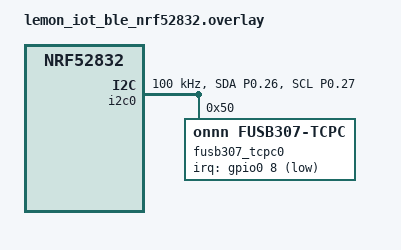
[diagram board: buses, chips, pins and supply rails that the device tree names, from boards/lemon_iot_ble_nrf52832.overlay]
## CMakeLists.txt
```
# SPDX-License-Identifier: Apache-2.0

cmake_minimum_required(VERSION 3.20.0)

find_package(Zephyr REQUIRED HINTS $ENV{ZEPHYR_BASE})
project(USB-PD)

FILE(GLOB app_sources src/*.c)
target_sources(app PRIVATE ${app_sources})
```

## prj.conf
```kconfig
CONFIG_CONSOLE=y
CONFIG_LOG=y

CONFIG_USBC_STACK=y
CONFIG_USBC_CSM_SINK_ONLY=y
CONFIG_USBC_THREAD_PRIORITY=10
CONFIG_USBC_LOG_LEVEL_DBG=y
CONFIG_USBC_TCPC_DRIVER=y

CONFIG_ADC=y
CONFIG_BUILD_OUTPUT_VIF=y
```

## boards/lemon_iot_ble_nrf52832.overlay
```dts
/* SPDX-License-Identifier: Apache-2.0 */

#include <dt-bindings/usb-c/pd.h>

/ {
	aliases {
		usbc-port0 = &port0;
	};

	ports {
		#address-cells = <1>;
		#size-cells = <0>;
		port0: usbc-port@0 {
			compatible = "usb-c-connector";
			reg = <0>;
			tcpc = <&fusb307_tcpc0>;
			vbus = <&fusb307_vbus0>;
			power-role = "sink";
			sink-pdos = <PDO_FIXED(5000, 100, 0)>;
		};
	};
};

&pinctrl {

	i2c0_default: i2c0_default {
		group1 {
			psels = <NRF_PSEL(TWIM_SDA, 0, 26)>,
					<NRF_PSEL(TWIM_SCL, 0, 27)>;
			bias-pull-up;
		};
	};

	i2c0_sleep: i2c0_sleep {
		group1 {
			psels = <NRF_PSEL(TWIM_SDA, 0, 26)>,
					<NRF_PSEL(TWIM_SCL, 0, 27)>;
			low-power-enable;
		};
	};
};

&i2c0 {
	compatible = "nordic,nrf-twim";
	status = "okay";
	pinctrl-0 = <&i2c0_default>;
	pinctrl-1 = <&i2c0_sleep>;
	pinctrl-names = "default", "sleep";
	clock-frequency = <100000>;
	fusb307_tcpc0: fusb307_tcpc0@50 {
		compatible = "onnn,fusb307-tcpc";
		reg = <0x50>;
		irq-gpios = <&gpio0 8 GPIO_ACTIVE_LOW>;
		status = "okay";
		fusb307_vbus0: fusb307_vbus0 {
			compatible = "zephyr,usb-c-vbus-tcpci";
			status = "okay";
		};
	};
};
```

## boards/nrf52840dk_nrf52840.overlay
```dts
/* SPDX-License-Identifier: Apache-2.0 */

#include <dt-bindings/usb-c/pd.h>

/ {
	aliases {
		usbc-port0 = &port0;
	};

	ports {
		#address-cells = <1>;
		#size-cells = <0>;
		port0: usbc-port@0 {
			compatible = "usb-c-connector";
			reg = <0>;
			tcpc = <&fusb307_tcpc0>;
			vbus = <&fusb307_vbus0>;
			power-role = "sink";
			sink-pdos = <PDO_FIXED(9000, 100, 0) PDO_FIXED(5000, 100, 0) PDO_FIXED(15000, 100, 0) PDO_FIXED(20000, 100, 0)>;
		};
	};
};

&pinctrl {

	i2c0_default: i2c0_default {
		group1 {
			psels = <NRF_PSEL(TWIM_SDA, 0, 30)>,
					<NRF_PSEL(TWIM_SCL, 0, 29)>;
			bias-pull-up;
		};
	};

	i2c0_sleep: i2c0_sleep {
		group1 {
			psels = <NRF_PSEL(TWIM_SDA, 0, 30)>,
					<NRF_PSEL(TWIM_SCL, 0, 29)>;
			low-power-enable;
		};
	};
};

&i2c0 {
	compatible = "nordic,nrf-twim";
	status = "okay";
	pinctrl-0 = <&i2c0_default>;
	pinctrl-1 = <&i2c0_sleep>;
	pinctrl-names = "default", "sleep";
	clock-frequency = <100000>;
	fusb307_tcpc0: fusb307_tcpc0@50 {
		compatible = "onnn,fusb307-tcpc";
		reg = <0x50>;
		irq-gpios = <&gpio0 31 GPIO_ACTIVE_LOW>;
		status = "okay";
		fusb307_vbus0: fusb307_vbus0 {
			compatible = "zephyr,usb-c-vbus-tcpci";
			status = "okay";
		};
	};
};
```

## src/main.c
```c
/*
 * Copyright (c) 2022 The Chromium OS Authors.
 *
 * SPDX-License-Identifier: Apache-2.0
 */

#include <zephyr/kernel.h>
#include <zephyr/device.h>
#include <zephyr/devicetree.h>
#include <zephyr/usb_c/usbc.h>

#include <zephyr/logging/log.h>
LOG_MODULE_REGISTER(main, LOG_LEVEL_DBG);

#define USBC_PORT0_NODE		DT_ALIAS(usbc_port0)
#define USBC_PORT0_POWER_ROLE	DT_ENUM_IDX(USBC_PORT0_NODE, power_role)

#if (USBC_PORT0_POWER_ROLE != TC_ROLE_SINK)
#error "Unsupported board: Only Sink device supported"
#endif

#define SINK_PDO(node_id, prop, idx)	(DT_PROP_BY_IDX(node_id, prop, idx)),

/* usbc.rst port data object start */
/**
 * @brief A structure that encapsulates Port data.
 */
static struct port0_data_t {
	/** Sink Capabilities */
	uint32_t snk_caps[DT_PROP_LEN(USBC_PORT0_NODE, sink_pdos)];
	/** Number of Sink Capabilities */
	int snk_cap_cnt;
	/** Source Capabilities */
	uint32_t src_caps[PDO_MAX_DATA_OBJECTS];
	/** Number of Source Capabilities */
	int src_cap_cnt;
	/* Power Supply Ready flag */
	atomic_t ps_ready;
} port0_data = {
	.snk_caps = {DT_FOREACH_PROP_ELEM(USBC_PORT0_NODE, sink_pdos, SINK_PDO)},
	.snk_cap_cnt = DT_PROP_LEN(USBC_PORT0_NODE, sink_pdos),
	.src_caps = {0},
	.src_cap_cnt = 0,
	.ps_ready = 0
};

/* usbc.rst port data object end */

/**
 * @brief Builds a Request Data Object (RDO) with the following properties:
 *		- Maximum operating current 100mA
 *		- Operating current is 100mA
 *		- Unchunked Extended Messages Not Supported
 *		- No USB Suspend
 *		- Not USB Communications Capable
 *		- No capability mismatch
 *		- Does not Giveback
 *		- Select object position 1 (5V Power Data Object (PDO))
 *
 * @note Generally a sink application would build an RDO from the
 *	 Source Capabilities stored in the dpm_data object
 */
static uint32_t build_rdo(const struct port0_data_t *dpm_data)
{
	union pd_rdo rdo;

	/* Maximum operating current 100mA (GIVEBACK = 0) */
	rdo.fixed.min_or_max_operating_current = PD_CONVERT_MA_TO_FIXED_PDO_CURRENT(100);
	/* Operating current 100mA */
	rdo.fixed.operating_current = PD_CONVERT_MA_TO_FIXED_PDO_CURRENT(100);
	/* Unchunked Extended Messages Not Supported */
	rdo.fixed.unchunked_ext_msg_supported = 0;
	/* No USB Suspend */
	rdo.fixed.no_usb_suspend = 1;
	/* Not USB Communications Capable */
	rdo.fixed.usb_comm_capable = 0;
	/* No capability mismatch */
	rdo.fixed.cap_mismatch = 0;
	/* Don't giveback */
	rdo.fixed.giveback = 0;
	/* Object position 1 (5V PDO) */
	rdo.fixed.object_pos = 1;

	return rdo.raw_value;
}

static void display_pdo(const int idx,
			const uint32_t pdo_value)
{
	union pd_fixed_supply_pdo_source pdo;

	/* Default to fixed supply pdo source until type is detected */
	pdo.raw_value = pdo_value;

	LOG_INF("PDO %d:", idx);
	switch (pdo.type) {
	case PDO_FIXED: {
		LOG_INF("\tType:              FIXED");
		LOG_INF("\tCurrent:           %d",
		       PD_CONVERT_FIXED_PDO_CURRENT_TO_MA(pdo.max_current));
		LOG_INF("\tVoltage:           %d",
		       PD_CONVERT_FIXED_PDO_VOLTAGE_TO_MV(pdo.voltage));
		LOG_INF("\tPeak Current:      %d", pdo.peak_current);
		LOG_INF("\tUchunked Support:  %d",
		       pdo.unchunked_ext_msg_supported);
		LOG_INF("\tDual Role Data:    %d",
		       pdo.dual_role_data);
		LOG_INF("\tUSB Comms:         %d",
		       pdo.usb_comms_capable);
		LOG_INF("\tUnconstrained Pwr: %d",
		       pdo.unconstrained_power);
		LOG_INF("\tUSB Suspend:       %d",
		       pdo.usb_suspend_supported);
		LOG_INF("\tDual Role Power:   %d",
		       pdo.dual_role_power);
	}
	break;
	case PDO_BATTERY: {
		union pd_battery_supply_pdo_source batt_pdo;

		batt_pdo.raw_value = pdo_value;
		LOG_INF("\tType:              BATTERY");
		LOG_INF("\tMin Voltage: %d",
			PD_CONVERT_BATTERY_PDO_VOLTAGE_TO_MV(batt_pdo.min_voltage));
		LOG_INF("\tMax Voltage: %d",
			PD_CONVERT_BATTERY_PDO_VOLTAGE_TO_MV(batt_pdo.max_voltage));
		LOG_INF("\tMax Power:   %d",
			PD_CONVERT_BATTERY_PDO_POWER_TO_MW(batt_pdo.max_power));
	}
	break;
	case PDO_VARIABLE: {
		union pd_variable_supply_pdo_source var_pdo;

		var_pdo.raw_value = pdo_value;
		LOG_INF("\tType:        VARIABLE");
		LOG_INF("\tMin Voltage: %d",
			PD_CONVERT_VARIABLE_PDO_VOLTAGE_TO_MV(var_pdo.min_voltage));
		LOG_INF("\tMax Voltage: %d",
			PD_CONVERT_VARIABLE_PDO_VOLTAGE_TO_MV(var_pdo.max_voltage));
		LOG_INF("\tMax Current: %d",
			PD_CONVERT_VARIABLE_PDO_CURRENT_TO_MA(var_pdo.max_current));
	}
	break;
	case PDO_AUGMENTED: {
		union pd_augmented_supply_pdo_source aug_pdo;

		aug_pdo.raw_value = pdo_value;
		LOG_INF("\tType:              AUGMENTED");
		LOG_INF("\tMin Voltage:       %d",
			PD_CONVERT_AUGMENTED_PDO_VOLTAGE_TO_MV(aug_pdo.min_voltage));
		LOG_INF("\tMax Voltage:       %d",
			PD_CONVERT_AUGMENTED_PDO_VOLTAGE_TO_MV(aug_pdo.max_voltage));
		LOG_INF("\tMax Current:       %d",
			PD_CONVERT_AUGMENTED_PDO_CURRENT_TO_MA(aug_pdo.max_current));
		LOG_INF("\tPPS Power Limited: %d", aug_pdo.pps_power_limited);
	}
	break;
	}
}

static void display_source_caps(const struct device *dev)
{
	struct port0_data_t *dpm_data = usbc_get_dpm_data(dev);

	LOG_INF("Source Caps:");
	for (int i = 0; i < dpm_data->src_cap_cnt; i++) {
		display_pdo(i, dpm_data->src_caps[i]);
		k_msleep(50);
	}
}

/* usbc.rst callbacks start */
static int port0_policy_cb_get_snk_cap(const struct device *dev,
					    uint32_t **pdos,
					    int *num_pdos)
{
	struct port0_data_t *dpm_data = usbc_get_dpm_data(dev);

	*pdos = dpm_data->snk_caps;
	*num_pdos = dpm_data->snk_cap_cnt;

	return 0;
}

static void port0_policy_cb_set_src_cap(const struct device *dev,
					     const uint32_t *pdos,
					     const int num_pdos)
{
	struct port0_data_t *dpm_data;
	int num;
	int i;

	dpm_data = usbc_get_dpm_data(dev);

	num = num_pdos;
	if (num > PDO_MAX_DATA_OBJECTS) {
		num = PDO_MAX_DATA_OBJECTS;
	}

	for (i = 0; i < num; i++) {
		dpm_data->src_caps[i] = *(pdos + i);
	}

	dpm_data->src_cap_cnt = num;
}

static uint32_t port0_policy_cb_get_rdo(const struct device *dev)
{
	struct port0_data_t *dpm_data = usbc_get_dpm_data(dev);

	return build_rdo(dpm_data);
}
/* usbc.rst callbacks end */

/* usbc.rst notify start */
static void port0_notify(const struct device *dev,
			      const enum usbc_policy_notify_t policy_notify)
{
	struct port0_data_t *dpm_data = usbc_get_dpm_data(dev);

	switch (policy_notify) {
		case PROTOCOL_ERROR:
			LOG_INF("Protocol Error occurred");
			break;
		case MSG_DISCARDED:
			LOG_INF("Power Delivery discarded the message being transmited");
			break;
		case MSG_ACCEPT_RECEIVED:
			LOG_INF("Power Delivery Accept message was received");
			break;
		case MSG_REJECTED_RECEIVED:
			LOG_INF("Power Delivery Reject message was received");
			break;
		case MSG_NOT_SUPPORTED_RECEIVED:
			LOG_INF("Power Delivery Not Supported message was received");
			break;
		case TRANSITION_PS:
			atomic_set_bit(&dpm_data->ps_ready, 0);
			LOG_INF("Transition the Power Supply");
			break;
		case PD_CONNECTED:
			LOG_INF("A PD Explicit Contract is in place");
			break;
		case NOT_PD_CONNECTED:
			LOG_INF("No PD Explicit Contract is in place");
			break;
		case POWER_CHANGE_0A0:
			LOG_INF("PWR 0A: Sink SubPower state at 0V");
			break;
		case POWER_CHANGE_DEF:
			LOG_INF("PWR DEF: Sink SubPower state a 5V / 500mA");
			break;
		case POWER_CHANGE_1A5:
			LOG_INF("PWR 1A5: Sink SubPower state a 5V / 1.5A");
			break;
		case POWER_CHANGE_3A0:
			LOG_INF("PWR 3A0: Sink SubPower state a 5V / 3A");
			break;
		case DATA_ROLE_IS_UFP:
			LOG_INF("Data Role has been set to Upstream Facing Port (UFP)");
			break;
		case DATA_ROLE_IS_DFP:
			LOG_INF("Data Role has been set to Downstream Facing Port (DFP)");
			break;
		case PORT_PARTNER_NOT_RESPONSIVE:
			LOG_INF("Port Partner not PD Capable");
			break;
		case SNK_TRANSITION_TO_DEFAULT:
			LOG_INF("Transition the Sink to default");
			break;
		case HARD_RESET_RECEIVED:
			LOG_INF("Hard Reset Received");
			break;
		case SENDER_RESPONSE_TIMEOUT:
			LOG_INF("Sender Response Timeout");
			break;
		case SOURCE_CAPABILITIES_RECEIVED:
			LOG_INF("Source Capabilities Received");
			break;
	}
}
/* usbc.rst notify end */

/* usbc.rst check start */
bool port0_policy_check(const struct device *dev,
			const enum usbc_policy_check_t policy_check)
{
	switch (policy_check) {
	case CHECK_POWER_ROLE_SWAP:
		/* Reject power role swaps */
		return false;
	case CHECK_DATA_ROLE_SWAP_TO_DFP:
		/* Reject data role swap to DFP */
		return false;
	case CHECK_DATA_ROLE_SWAP_TO_UFP:
		/* Accept data role swap to UFP */
		return true;
	case CHECK_SNK_AT_DEFAULT_LEVEL:
		/* This device is always at the default power level */
		return true;
	default:
		/* Reject all other policy checks */
		return false;

	}
}
/* usbc.rst check end */

int main(void)
{
	const struct device *usbc_port0;

	/* Get the device for this port */
	usbc_port0 = DEVICE_DT_GET(USBC_PORT0_NODE);
	if (!device_is_ready(usbc_port0)) {
		LOG_ERR("PORT0 device not ready");
		return 0;
	}

	/* usbc.rst register start */
	/* Register USB-C Callbacks */

	/* Register Policy Check callback */
	usbc_set_policy_cb_check(usbc_port0, port0_policy_check);
	/* Register Policy Notify callback */
	usbc_set_policy_cb_notify(usbc_port0, port0_notify);
	/* Register Policy Get Sink Capabilities callback */
	usbc_set_policy_cb_get_snk_cap(usbc_port0, port0_policy_cb_get_snk_cap);
	/* Register Policy Set Source Capabilities callback */
	usbc_set_policy_cb_set_src_cap(usbc_port0, port0_policy_cb_set_src_cap);
	/* Register Policy Get Request Data Object callback */
	usbc_set_policy_cb_get_rdo(usbc_port0, port0_policy_cb_get_rdo);
	/* usbc.rst register end */

	LOG_INF("Number of Sink Capabilies %d", port0_data.snk_cap_cnt);
	LOG_INF("Capability = %08X", port0_data.snk_caps[0]);
	
	/* usbc.rst user data start */
	/* Set Application port data object. This object is passed to the policy callbacks */
	port0_data.ps_ready = ATOMIC_INIT(0);
	usbc_set_dpm_data(usbc_port0, &port0_data);
	/* usbc.rst user data end */

	/* usbc.rst usbc start */
	/* Start the USB-C Subsystem */
	LOG_INF("Starting the USB-C Subsystem");
	usbc_start(usbc_port0);
	/* usbc.rst usbc end */

	while (1) {
		/* Perform Application Specific functions */
		if (atomic_test_and_clear_bit(&port0_data.ps_ready, 0)) {
			/* Display the Source Capabilities */
			display_source_caps(usbc_port0);
		}

		/* Arbitrary delay */
		k_msleep(1000);
	}
	return 0;
}
```
